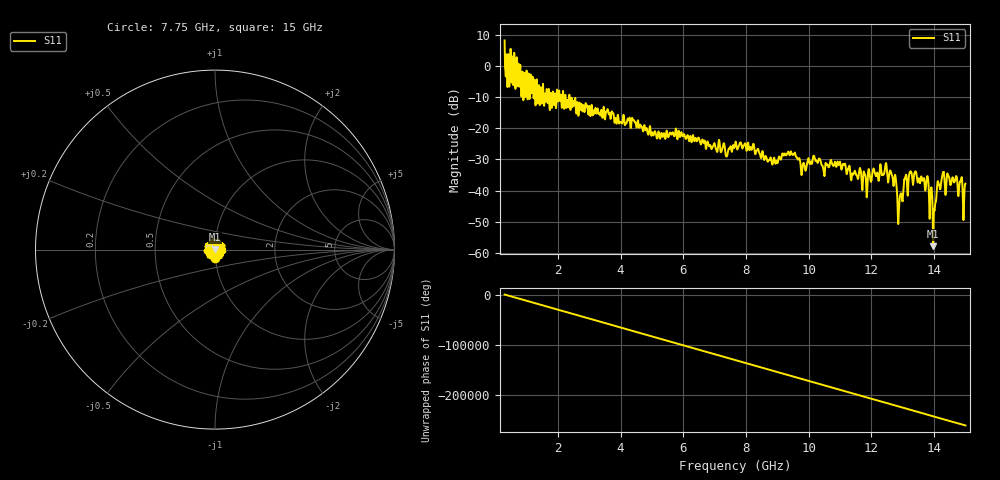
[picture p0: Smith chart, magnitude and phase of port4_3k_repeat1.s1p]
# GHZ S RI R 50.0
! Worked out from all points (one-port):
!   12801 points, 300 MHz to 15 GHz, reference 50 ohm
!   lowest |S11| = -57.9 dB at 13.97 GHz (marker M1), VSWR 1.00, Z = 50 + j0.128 ohm
!   |S11| at or under -10 dB: 2.175 GHz to 2.229 GHz (54.42 MHz wide, 2.47 % of centre); 2.243 GHz to 2.355 GHz (112 MHz wide, 4.87 % of centre); 2.372 GHz to end of sweep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
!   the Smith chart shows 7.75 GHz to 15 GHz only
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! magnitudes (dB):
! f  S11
! 300 MHz  8.2
! 391.9 MHz  -6.8
! 742.1 MHz  -0.2
! 899.5 MHz  -11.0
! 2.138 GHz  -12.6
! 3.975 GHz  -18.0
! 5.207 GHz  -21.1
! 5.812 GHz  -23.5
! 7.398 GHz  -28.9
! 7.65 GHz  -25.2
! 8.888 GHz  -29.6
! 9.488 GHz  -28.4
! 9.827 GHz  -31.2
! 10.19 GHz  -29.7
! 11.32 GHz  -34.0
! 11.8 GHz  -35.0
! 12.44 GHz  -32.6
! 12.73 GHz  -37.1
! 12.9 GHz  -42.6
! 13.07 GHz  -36.3
! 13.16 GHz  -41.5
! 13.75 GHz  -38.0
! 13.97 GHz  -57.9
! 14.02 GHz  -45.8
! 14.11 GHz  -37.6
! 14.27 GHz  -34.8
! 14.66 GHz  -36.8
! 15 GHz  -37.8
